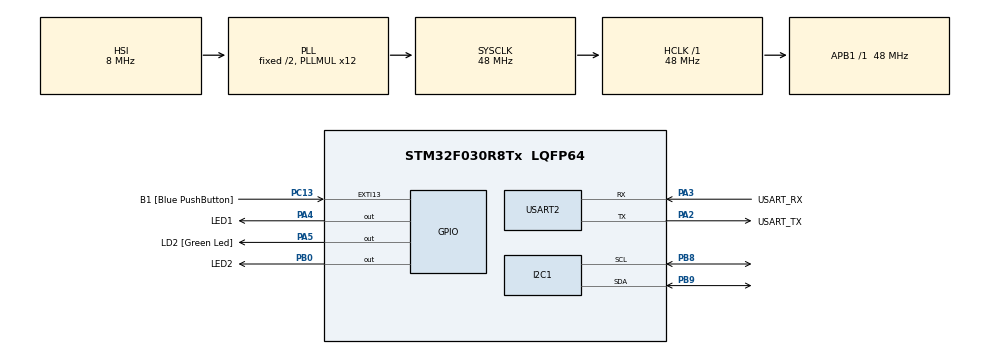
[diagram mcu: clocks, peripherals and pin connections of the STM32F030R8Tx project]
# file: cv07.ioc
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FREERTOS.Queues01=xVisualQueue,16,int16_t,0,Dynamic,NULL,NULL
FREERTOS.Tasks01=defaultTask,0,128,StartDefaultTask,Default,NULL,Dynamic,NULL,NULL;VisualTask,0,128,StartVisualTask,Default,NULL,Dynamic,NULL,NULL;AcceleroTask,0,128,StartAcceleroTask,Default,NULL,Dynamic,NULL,NULL
Mcu.Family=STM32F0
Mcu.Name=STM32F030R8Tx
Mcu.Package=LQFP64
NVIC.TIM1_BRK_UP_TRG_COM_IRQn=true\:0\:0\:false\:false\:true\:false\:false\:true
NVIC.TimeBase=TIM1_BRK_UP_TRG_COM_IRQn
NVIC.TimeBaseIP=TIM1
PA13.GPIO_Label=TMS
PA13.Mode=Serial_Wire
PA13.Signal=SYS_SWDIO
PA14.GPIO_Label=TCK
PA14.Mode=Serial_Wire
PA14.Signal=SYS_SWCLK
PA2.GPIO_Label=USART_TX
PA2.GPIO_Mode=GPIO_MODE_AF_PP
PA2.GPIO_PuPd=GPIO_NOPULL
PA2.GPIO_Speed=GPIO_SPEED_FREQ_LOW
PA2.Mode=Asynchronous
PA2.Signal=USART2_TX
PA3.GPIO_Label=USART_RX
PA3.GPIO_Mode=GPIO_MODE_AF_PP
PA3.GPIO_PuPd=GPIO_NOPULL
PA3.GPIO_Speed=GPIO_SPEED_FREQ_LOW
PA3.Mode=Asynchronous
PA3.Signal=USART2_RX
PA4.GPIO_Label=LED1
PA4.GPIO_ModeDefaultOutputPP=GPIO_MODE_OUTPUT_PP
PA4.Signal=GPIO_Output
PA5.GPIO_Label=LD2 [Green Led]
PA5.GPIO_Mode=GPIO_MODE_OUTPUT_PP
PA5.GPIO_PuPd=GPIO_NOPULL
PA5.GPIO_Speed=GPIO_SPEED_FREQ_LOW
PA5.Signal=GPIO_Output
PB0.GPIO_Label=LED2
PB0.Signal=GPIO_Output
PB8.Mode=I2C
PB8.Signal=I2C1_SCL
PB9.Mode=I2C
PB9.Signal=I2C1_SDA
PC13.GPIO_Label=B1 [Blue PushButton]
PC13.GPIO_ModeDefaultEXTI=GPIO_MODE_IT_FALLING
PC13.Signal=GPXTI13
PC14-OSC32_IN.Mode=LSE-External-Oscillator
PC14-OSC32_IN.Signal=RCC_OSC32_IN
PC15-OSC32_OUT.Mode=LSE-External-Oscillator
PC15-OSC32_OUT.Signal=RCC_OSC32_OUT
PF0-OSC_IN.Mode=HSE-External-Clock-Source
PF0-OSC_IN.Signal=RCC_OSC_IN
PF1-OSC_OUT.Signal=RCC_OSC_OUT
ProjectManager.HeapSize=0x200
ProjectManager.StackSize=0x400
ProjectManager.TargetToolchain=STM32CubeIDE
RCC.AHBFreq_Value=48000000
RCC.APB1Freq_Value=48000000
RCC.APB1TimFreq_Value=48000000
RCC.HCLKFreq_Value=48000000
RCC.PLLMUL=RCC_PLL_MUL12
RCC.SYSCLKFreq_VALUE=48000000
RCC.SYSCLKSource=RCC_SYSCLKSOURCE_PLLCLK
USART2.VirtualMode-Asynchronous=VM_ASYNC
VP_FREERTOS_VS_CMSIS_V1.Mode=CMSIS_V1
VP_SYS_VS_tim1.Mode=TIM1
board=NUCLEO-F030R8

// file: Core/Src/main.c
/* USER CODE BEGIN Header */
/**
  ******************************************************************************
  * @file           : main.c
  * @brief          : Main program body
  ******************************************************************************
  * @attention
  *
  * <h2><center>&copy; Copyright (c) 2020 STMicroelectronics.
  * All rights reserved.</center></h2>
  *
  * This software component is licensed by ST under BSD 3-Clause license,
  * the "License"; You may not use this file except in compliance with the
  * License. You may obtain a copy of the License at:
  *                        opensource.org/licenses/BSD-3-Clause
  *
  ******************************************************************************
  */
/* USER CODE END Header */

#include "main.h"
#include "cmsis_os.h"

/* USER CODE BEGIN Includes */
#include "lis2dw12_reg.h"
#include <stdio.h>
/* USER CODE END Includes */

/* USER CODE BEGIN PTD */
typedef union {
 int16_t i16bit[3];
 uint8_t u8bit[6];
} axis3bit16_t;
/* USER CODE END PTD */

I2C_HandleTypeDef hi2c1;

UART_HandleTypeDef huart2;

osThreadId defaultTaskHandle;
osThreadId VisualTaskHandle;
osThreadId AcceleroTaskHandle;
osMessageQId xVisualQueueHandle;
/* USER CODE BEGIN PV */
static int16_t msg;
/* USER CODE END PV */

void SystemClock_Config(void);
static void MX_GPIO_Init(void);
static void MX_USART2_UART_Init(void);
static void MX_I2C1_Init(void);
void StartDefaultTask(void const * argument);
void StartVisualTask(void const * argument);
void StartAcceleroTask(void const * argument);

/* USER CODE BEGIN PFP */
static int32_t platform_write(void *handle, uint8_t reg, uint8_t *bufp, uint16_t len);
static int32_t platform_read(void *handle, uint8_t reg, uint8_t *bufp, uint16_t len);
static stmdev_ctx_t lis2dw12 = {
		.write_reg = platform_write,
		.read_reg = platform_read,
		.handle = &hi2c1
};

/* USER CODE END PFP */

/* USER CODE BEGIN 0 */
static int32_t platform_write(void *handle, uint8_t reg, uint8_t *bufp, uint16_t len)
{
	HAL_I2C_Mem_Write(handle, LIS2DW12_I2C_ADD_H, reg, I2C_MEMADD_SIZE_8BIT, bufp, len, 1000);
	return 0;
}

static int32_t platform_read(void *handle, uint8_t reg, uint8_t *bufp, uint16_t len)
{
	HAL_I2C_Mem_Read(handle, LIS2DW12_I2C_ADD_H, reg, I2C_MEMADD_SIZE_8BIT, bufp, len, 1000);
	return 0;
}

int _write(int file, char const *buf, int n)
{
	/* stdout redirection to UART2 */
	HAL_UART_Transmit(&huart2, (uint8_t*)(buf), n, HAL_MAX_DELAY);
	return n;
}
/* USER CODE END 0 */

int main(void)
{

  /* MCU Configuration--------------------------------------------------------*/

  /* Reset of all peripherals, Initializes the Flash interface and the Systick. */
  HAL_Init();

  /* Configure the system clock */
  SystemClock_Config();

  /* Initialize all configured peripherals */
  MX_GPIO_Init();
  MX_USART2_UART_Init();
  MX_I2C1_Init();
  /* USER CODE BEGIN 2 */
  printf("Hello\n");
  lis2dw12_full_scale_set(&lis2dw12, LIS2DW12_2g);
  lis2dw12_power_mode_set(&lis2dw12, LIS2DW12_CONT_LOW_PWR_LOW_NOISE_2);
  lis2dw12_block_data_update_set(&lis2dw12, PROPERTY_ENABLE);
  lis2dw12_fifo_mode_set(&lis2dw12, LIS2DW12_STREAM_MODE); // enable continuous FIFO
  lis2dw12_data_rate_set(&lis2dw12, LIS2DW12_XL_ODR_25Hz); // enable part from power-down
  /* USER CODE END 2 */

  /* Create the queue(s) */
  /* definition and creation of xVisualQueue */
  osMessageQDef(xVisualQueue, 16, int16_t);
  xVisualQueueHandle = osMessageCreate(osMessageQ(xVisualQueue), NULL);

  /* Create the thread(s) */
  /* definition and creation of defaultTask */
  osThreadDef(defaultTask, StartDefaultTask, osPriorityNormal, 0, 128);
  defaultTaskHandle = osThreadCreate(osThread(defaultTask), NULL);

  /* definition and creation of VisualTask */
  osThreadDef(VisualTask, StartVisualTask, osPriorityNormal, 0, 128);
  VisualTaskHandle = osThreadCreate(osThread(VisualTask), NULL);

  /* definition and creation of AcceleroTask */
  osThreadDef(AcceleroTask, StartAcceleroTask, osPriorityNormal, 0, 128);
  AcceleroTaskHandle = osThreadCreate(osThread(AcceleroTask), NULL);

  /* Start scheduler */
  osKernelStart();

  /* We should never get here as control is now taken by the scheduler */
  /* Infinite loop */
  while (1)
  {

  }
}

void SystemClock_Config(void)
{
  RCC_OscInitTypeDef RCC_OscInitStruct = {0};
  RCC_ClkInitTypeDef RCC_ClkInitStruct = {0};
  RCC_PeriphCLKInitTypeDef PeriphClkInit = {0};

  /** Initializes the CPU, AHB and APB busses clocks
  */
  RCC_OscInitStruct.OscillatorType = RCC_OSCILLATORTYPE_HSI;
  RCC_OscInitStruct.HSIState = RCC_HSI_ON;
  RCC_OscInitStruct.HSICalibrationValue = RCC_HSICALIBRATION_DEFAULT;
  RCC_OscInitStruct.PLL.PLLState = RCC_PLL_ON;
  RCC_OscInitStruct.PLL.PLLSource = RCC_PLLSOURCE_HSI;
  RCC_OscInitStruct.PLL.PLLMUL = RCC_PLL_MUL12;
  RCC_OscInitStruct.PLL.PREDIV = RCC_PREDIV_DIV1;
  if (HAL_RCC_OscConfig(&RCC_OscInitStruct) != HAL_OK)
  {
    Error_Handler();
  }
  /** Initializes the CPU, AHB and APB busses clocks
  */
  RCC_ClkInitStruct.ClockType = RCC_CLOCKTYPE_HCLK|RCC_CLOCKTYPE_SYSCLK
                              |RCC_CLOCKTYPE_PCLK1;
  RCC_ClkInitStruct.SYSCLKSource = RCC_SYSCLKSOURCE_PLLCLK;
  RCC_ClkInitStruct.AHBCLKDivider = RCC_SYSCLK_DIV1;
  RCC_ClkInitStruct.APB1CLKDivider = RCC_HCLK_DIV1;

  if (HAL_RCC_ClockConfig(&RCC_ClkInitStruct, FLASH_LATENCY_1) != HAL_OK)
  {
    Error_Handler();
  }
  PeriphClkInit.PeriphClockSelection = RCC_PERIPHCLK_I2C1;
  PeriphClkInit.I2c1ClockSelection = RCC_I2C1CLKSOURCE_HSI;
  if (HAL_RCCEx_PeriphCLKConfig(&PeriphClkInit) != HAL_OK)
  {
    Error_Handler();
  }
}

static void MX_I2C1_Init(void)
{

  hi2c1.Instance = I2C1;
  hi2c1.Init.Timing = 0x2000090E;
  hi2c1.Init.OwnAddress1 = 0;
  hi2c1.Init.AddressingMode = I2C_ADDRESSINGMODE_7BIT;
  hi2c1.Init.DualAddressMode = I2C_DUALADDRESS_DISABLE;
  hi2c1.Init.OwnAddress2 = 0;
  hi2c1.Init.OwnAddress2Masks = I2C_OA2_NOMASK;
  hi2c1.Init.GeneralCallMode = I2C_GENERALCALL_DISABLE;
  hi2c1.Init.NoStretchMode = I2C_NOSTRETCH_DISABLE;
  if (HAL_I2C_Init(&hi2c1) != HAL_OK)
  {
    Error_Handler();
  }
  /** Configure Analogue filter
  */
  if (HAL_I2CEx_ConfigAnalogFilter(&hi2c1, I2C_ANALOGFILTER_ENABLE) != HAL_OK)
  {
    Error_Handler();
  }
  /** Configure Digital filter
  */
  if (HAL_I2CEx_ConfigDigitalFilter(&hi2c1, 0) != HAL_OK)
  {
    Error_Handler();
  }

}

static void MX_USART2_UART_Init(void)
{

  huart2.Instance = USART2;
  huart2.Init.BaudRate = 38400;
  huart2.Init.WordLength = UART_WORDLENGTH_8B;
  huart2.Init.StopBits = UART_STOPBITS_1;
  huart2.Init.Parity = UART_PARITY_NONE;
  huart2.Init.Mode = UART_MODE_TX_RX;
  huart2.Init.HwFlowCtl = UART_HWCONTROL_NONE;
  huart2.Init.OverSampling = UART_OVERSAMPLING_16;
  huart2.Init.OneBitSampling = UART_ONE_BIT_SAMPLE_DISABLE;
  huart2.AdvancedInit.AdvFeatureInit = UART_ADVFEATURE_NO_INIT;
  if (HAL_UART_Init(&huart2) != HAL_OK)
  {
    Error_Handler();
  }

}

static void MX_GPIO_Init(void)
{
  GPIO_InitTypeDef GPIO_InitStruct = {0};

  /* GPIO Ports Clock Enable */
  __HAL_RCC_GPIOC_CLK_ENABLE();
  __HAL_RCC_GPIOF_CLK_ENABLE();
  __HAL_RCC_GPIOA_CLK_ENABLE();
  __HAL_RCC_GPIOB_CLK_ENABLE();

  /*Configure GPIO pin Output Level */
  HAL_GPIO_WritePin(GPIOA, LED1_Pin|LD2_Pin, GPIO_PIN_RESET);

  /*Configure GPIO pin Output Level */
  HAL_GPIO_WritePin(LED2_GPIO_Port, LED2_Pin, GPIO_PIN_RESET);

  /*Configure GPIO pin : B1_Pin */
  GPIO_InitStruct.Pin = B1_Pin;
  GPIO_InitStruct.Mode = GPIO_MODE_IT_FALLING;
  GPIO_InitStruct.Pull = GPIO_NOPULL;
  HAL_GPIO_Init(B1_GPIO_Port, &GPIO_InitStruct);

  /*Configure GPIO pins : LED1_Pin LD2_Pin */
  GPIO_InitStruct.Pin = LED1_Pin|LD2_Pin;
  GPIO_InitStruct.Mode = GPIO_MODE_OUTPUT_PP;
  GPIO_InitStruct.Pull = GPIO_NOPULL;
  GPIO_InitStruct.Speed = GPIO_SPEED_FREQ_LOW;
  HAL_GPIO_Init(GPIOA, &GPIO_InitStruct);

  /*Configure GPIO pin : LED2_Pin */
  GPIO_InitStruct.Pin = LED2_Pin;
  GPIO_InitStruct.Mode = GPIO_MODE_OUTPUT_PP;
  GPIO_InitStruct.Pull = GPIO_NOPULL;
  GPIO_InitStruct.Speed = GPIO_SPEED_FREQ_LOW;
  HAL_GPIO_Init(LED2_GPIO_Port, &GPIO_InitStruct);

}

void StartDefaultTask(void const * argument)
{
  for(;;)
  {
    osDelay(1);
  }
}

void StartVisualTask(void const * argument)
{
  /* USER CODE BEGIN StartVisualTask */

  /* Infinite loop */
  for(;;)
  {
    osDelay(1);

    if (msg > 200) {
    	HAL_GPIO_WritePin(LED1_GPIO_Port, LED1_Pin, 0);
    	HAL_GPIO_WritePin(LED2_GPIO_Port, LED2_Pin, 1);
    }

    else if (msg < -200) {
    	HAL_GPIO_WritePin(LED1_GPIO_Port, LED1_Pin, 1);
    	HAL_GPIO_WritePin(LED2_GPIO_Port, LED2_Pin, 0);
    }
    else {
    	HAL_GPIO_WritePin(LED1_GPIO_Port, LED1_Pin, 0);
    	HAL_GPIO_WritePin(LED2_GPIO_Port, LED2_Pin, 0);
    }
  }
  /* USER CODE END StartVisualTask */
}

void StartAcceleroTask(void const * argument)
{
  /* USER CODE BEGIN StartAcceleroTask */
  // Check device ID
	uint8_t whoamI = 0;
	lis2dw12_device_id_get(&lis2dw12, &whoamI);
	printf("LIS2DW12_ID %s\n", (whoamI == LIS2DW12_ID) ? "OK" : "FAIL");
	uint8_t update_time = 0;
  /* Infinite loop */
  for(;;)
  {

	  uint8_t samples;
	  axis3bit16_t data_raw_acceleration;
	  lis2dw12_fifo_data_level_get(&lis2dw12, &samples);
	  for (uint8_t i = 0; i < samples; i++) {
		  // Read acceleration data
		  lis2dw12_acceleration_raw_get(&lis2dw12, data_raw_acceleration.u8bit);

	  }
	  msg = data_raw_acceleration.i16bit[0];
	  xQueueSend(xVisualQueueHandle, &msg, 0);
	  osDelay(50);

	  if(update_time >= 20){
		  printf("X=%d Y=%d Z=%d\n", data_raw_acceleration.i16bit[0],
		  			  data_raw_acceleration.i16bit[1], data_raw_acceleration.i16bit[2]);
		  update_time = 0;
	  }
	  update_time++;

  }
  /* USER CODE END StartAcceleroTask */
}

 /**
  * @brief  Period elapsed callback in non blocking mode
  * @note   This function is called  when TIM1 interrupt took place, inside
  * HAL_TIM_IRQHandler(). It makes a direct call to HAL_IncTick() to increment
  * a global variable "uwTick" used as application time base.
  * @param  htim : TIM handle
  * @retval None
  */
void HAL_TIM_PeriodElapsedCallback(TIM_HandleTypeDef *htim)
{
  if (htim->Instance == TIM1) {
    HAL_IncTick();
  }
}

void Error_Handler(void)
{
}

/************************ (C) COPYRIGHT STMicroelectronics *****END OF FILE****/
